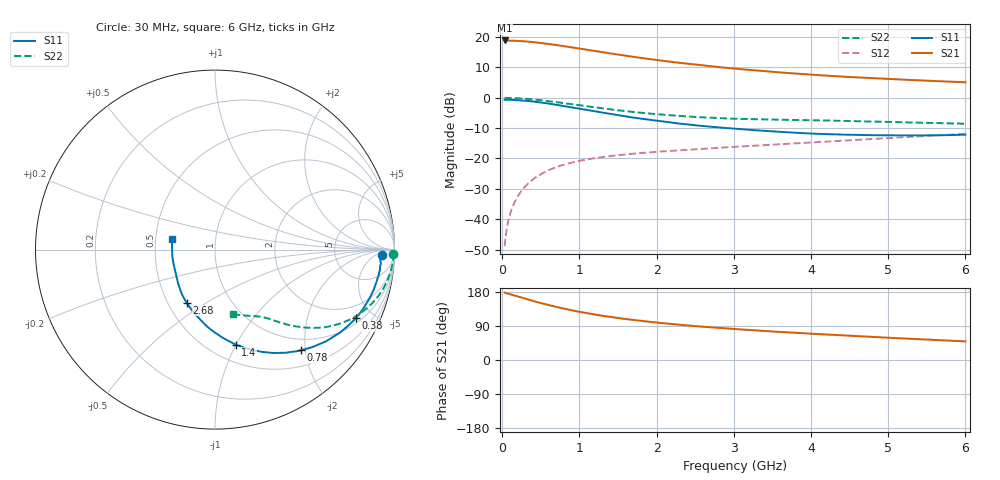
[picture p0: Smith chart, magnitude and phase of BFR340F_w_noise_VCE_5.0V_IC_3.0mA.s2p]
! Infineon Technologies  Discrete & RF Semiconductors
! BFR340F
! VCE =  5.0 V,  IC =  3.0 mA
! Common Emitter S-Parameters:  Nov 2015
# GHz  S  MA  R  50
!  f  S11  S21  S12  S22
! GHz  MAG  ANG  MAG  ANG  MAG  ANG  MAG  ANG
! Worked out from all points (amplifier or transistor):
!   206 points, 30 MHz to 6 GHz, reference 50 ohm
!   highest |S21| = 18.9 dB at 30 MHz (marker M1)
!   |S21| within 3 dB of that: start of sweep to 1.082 GHz
!   unconditionally stable (mu >= 1): 4.138 GHz to end of sweep
!   at 200 MHz: K = 0.08, MSG = 25.6 dB, |S12| = -32.5 dB
!   at 1.56 GHz: K = 0.60, MSG = 16.4 dB, |S12| = -18.8 dB
!   at 6 GHz: K = 1.02, MAG = 7.6 dB, |S12| = -11.9 dB
!   lowest NFmin = 0.90 dB at 450 MHz
!   S11 on the Smith chart (normalised r, x): 30 MHz: 22, -10; 380 MHz: 1.24, -3.96; 780 MHz: 0.78, -1.91; 1.4 GHz: 0.66, -1.00; 2.68 GHz: 0.62, -0.41; 6 GHz: 0.61, +0.08
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0.03  0.9288 -2.0  8.766 177.9  0.0036 88.6  0.9946 -1.3
0.05  0.9224 -3.5  8.702 176.0  0.006 86.1  0.9941 -2.2
0.06  0.9267 -4.4  8.69 175.7  0.0072 87.2  0.9944 -2.6
0.07  0.9273 -5.0  8.76 175.0  0.0085 86.6  0.9943 -3.1
0.14  0.9204 -9.8  8.698 171.2  0.0168 84.2  0.9881 -6.3
0.26  0.9007 -18.1  8.533 163.8  0.0305 79.6  0.9699 -11.5
0.38  0.8721 -26.0  8.278 156.9  0.0435 75.1  0.9424 -16.4
0.45  0.8514 -30.4  8.1 152.9  0.0505 72.9  0.9242 -19.0
0.6  0.8023 -39.6  7.683 144.9  0.0641 68.1  0.8784 -24.4
0.78  0.7375 -49.5  7.114 136.4  0.0779 63.5  0.8197 -29.7
0.9  0.6965 -55.6  6.752 131.1  0.0857 60.9  0.7808 -32.9
1.04  0.6484 -62.2  6.33 125.7  0.0936 58.4  0.7381 -36.0
1.2  0.5976 -69.5  5.881 119.8  0.1015 56.1  0.6923 -39.0
1.4  0.542 -77.7  5.363 113.6  0.1097 53.9  0.6418 -42.2
1.7  0.4704 -88.6  4.709 105.5  0.1199 51.8  0.5816 -46.0
2.02  0.4146 -98.8  4.147 98.4  0.1292 50.8  0.5339 -48.9
2.4  0.3631 -110.3  3.627 91.1  0.1394 50.4  0.4918 -51.8
2.68  0.3352 -118.1  3.316 86.6  0.1468 50.4  0.4695 -53.9
3.1  0.3032 -128.4  2.947 80.5  0.1577 51.0  0.4481 -56.4
4.1  0.2542 -149.8  2.354 68.4  0.1864 52.8  0.4243 -60.7
5.1  0.2399 -173.0  2.01 57.8  0.2199 53.9  0.397 -67.4
6  0.2465 166.3  1.797 49.1  0.255 54.2  0.3731 -74.5
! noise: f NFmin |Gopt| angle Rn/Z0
0.45  0.9  0.62  3  0.38
0.9  0.9  0.59  12  0.41
1.9  1.18  0.46  23  0.37
2.4  1.27  0.43  32  0.35
